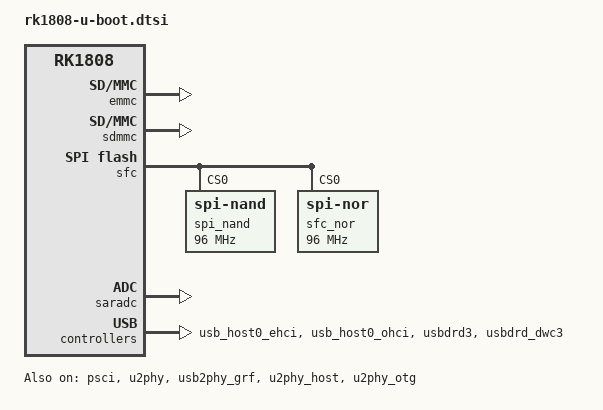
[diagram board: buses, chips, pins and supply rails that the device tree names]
// SPDX-License-Identifier:     GPL-2.0+
/*
 * (C) Copyright 2018 Rockchip Electronics Co., Ltd
 *
 */

/ {
	aliases {
		mmc0 = &emmc;
		mmc1 = &sdmmc;

		serial0 = &uart0;
		serial1 = &uart1;
		serial2 = &uart2;
		serial3 = &uart3;
		serial4 = &uart4;
		serial5 = &uart5;
		serial6 = &uart6;
		serial7 = &uart7;
	};

	chosen {
		stdout-path = &uart2;
		u-boot,spl-boot-order = &spi_nand, &spi_nor, &emmc;
	};

};

&psci {
	u-boot,dm-pre-reloc;
	status = "okay";
};

&crypto {
	u-boot,dm-spl;
};

&dmc {
	u-boot,dm-spl;
};

&cru {
	u-boot,dm-spl;
};

&grf {
	u-boot,dm-spl;
};

&pmugrf {
	u-boot,dm-spl;
};

&emmc {
	u-boot,dm-spl;
	status = "okay";
};

&sdmmc {
	u-boot,dm-spl;
	status = "okay";
};

&sfc {
	u-boot,dm-spl;
	status = "okay";

	#address-cells = <1>;
	#size-cells = <0>;
	spi_nand: flash@0 {
		u-boot,dm-spl;
		compatible = "spi-nand";
		reg = <0>;
		spi-tx-bus-width = <1>;
		spi-rx-bus-width = <4>;
		spi-max-frequency = <96000000>;
	};

	spi_nor: flash@1 {
		u-boot,dm-spl;
		compatible = "jedec,spi-nor";
		label = "sfc_nor";
		reg = <0>;
		spi-tx-bus-width = <1>;
		spi-rx-bus-width = <4>;
		spi-max-frequency = <96000000>;
	};
};

&saradc {
	u-boot,dm-spl;
	status = "okay";
};

&sfc {
	u-boot,dm-spl;
	status = "okay";
};

&uart0 {
	u-boot,dm-pre-reloc;
};

&uart1 {
	u-boot,dm-pre-reloc;
};

&uart2 {
	u-boot,dm-spl;
};

&uart3 {
	u-boot,dm-pre-reloc;
};

&uart4 {
	u-boot,dm-pre-reloc;
};

&uart5 {
	u-boot,dm-pre-reloc;
};

&uart6 {
	u-boot,dm-pre-reloc;
};

&uart7 {
	u-boot,dm-pre-reloc;
};

&u2phy {
	u-boot,dm-pre-reloc;
	status = "okay";
};

&usb2phy_grf {
	u-boot,dm-pre-reloc;
	status = "okay";
};

&u2phy_host {
	u-boot,dm-pre-reloc;
	status = "okay";
};

&u2phy_otg {
	u-boot,dm-pre-reloc;
	status = "okay";
};

&usb_host0_ehci {
	u-boot,dm-pre-reloc;
	status = "okay";
};

&usb_host0_ohci {
	u-boot,dm-pre-reloc;
	status = "okay";
};

&usbdrd3 {
	u-boot,dm-pre-reloc;
	status = "okay";
};

&usbdrd_dwc3 {
	u-boot,dm-pre-reloc;
	status = "okay";
};
